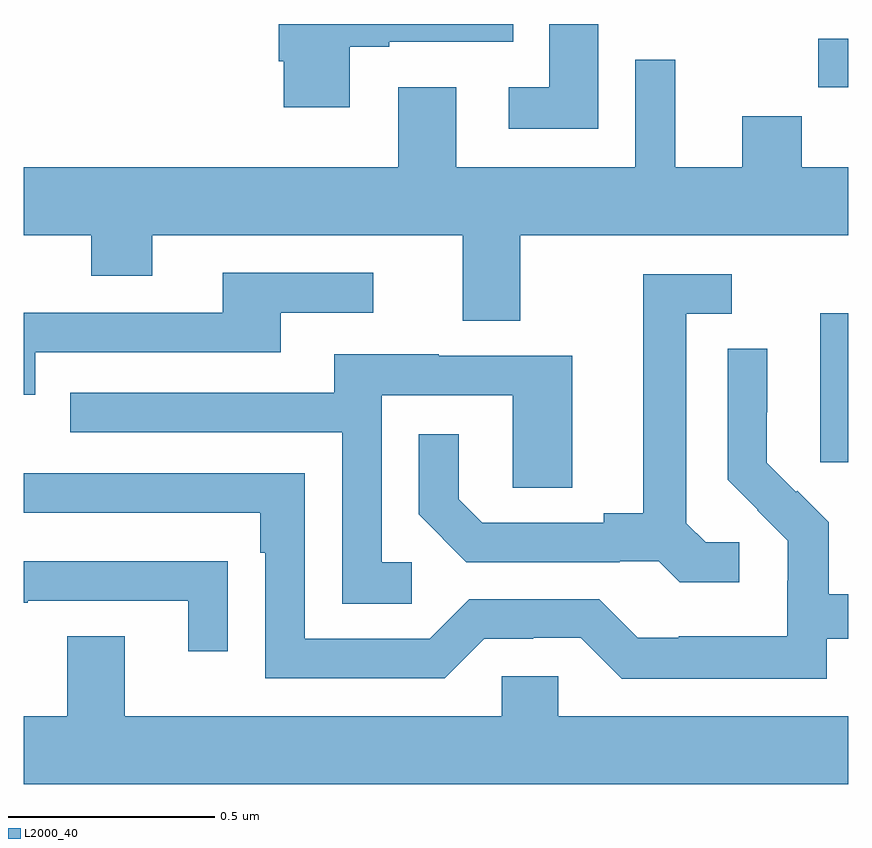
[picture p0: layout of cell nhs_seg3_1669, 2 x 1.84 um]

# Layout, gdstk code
import gdstk
lib = gdstk.Library(unit=1e-6, precision=1e-09)
def R(c, l, rs):  # rectangles x0, y0, x1, y1
    for r in rs: c.add(gdstk.rectangle(r[:2], r[2:], *l))
def P(c, l, *ps):  # polygons
    for p in ps: c.add(gdstk.Polygon(p, *l))
L2000_40 = (2000, 40)

nhs_seg3_1669 = lib.new_cell('nhs_seg3_1669')
R(nhs_seg3_1669, L2000_40, [(132.932,728.337,133,728.698), (132.928,729.246,133,729.364)])
P(nhs_seg3_1669, L2000_40, [(132.394,729.4),(132.275,729.4),(132.275,729.247),(132.177,729.247),(132.177,729.146),(132.394,729.146)],
  [(131.791,729.345),(131.887,729.345),(131.887,729.357),(132.187,729.357),(132.187,729.4),(131.618,729.4),(131.618,729.31),(131.63,729.31),(131.63,729.198),(131.791,729.198)],
  [(132.205,728.888),(133,728.888),(133,729.052),(132.887,729.052),(132.887,729.176),(132.743,729.176),(132.743,729.052),(132.58,729.052),(132.58,729.313),(132.483,729.313),(132.483,729.052),(132.049,729.052),(132.049,729.247),(131.909,729.247),(131.909,729.052),(131,729.052),(131,728.888),(131.164,728.888),(131.164,728.789),(131.311,728.789),(131.311,728.888),(132.065,728.888),(132.065,728.68),(132.205,728.68)],
  [(131.028,728.604),(131.623,728.604),(131.623,728.7),(131.848,728.7),(131.848,728.796),(131.483,728.796),(131.483,728.7),(131,728.7),(131,728.501),(131.028,728.501)],
  [(132.736,728.142),(132.654,728.142),(132.607,728.189),(132.607,728.697),(132.718,728.697),(132.718,728.793),(132.503,728.793),(132.503,728.213),(132.407,728.213),(132.407,728.19),(132.112,728.19),(132.055,728.247),(132.055,728.404),(131.958,728.404),(131.958,728.21),(132.074,728.094),(132.446,728.094),(132.446,728.097),(132.54,728.097),(132.592,728.045),(132.736,728.045)],
  [(132.948,727.908),(133,727.908),(133,728.017),(132.953,728.017),(132.953,728.191),(132.876,728.268),(132.873,728.265),(132.803,728.336),(132.803,728.458),(132.804,728.458),(132.804,728.612),(132.708,728.612),(132.708,728.294),(132.781,728.221),(132.78,728.22),(132.854,728.146),(132.854,728.049),(132.852,728.049),(132.852,727.915),(132.589,727.915),(132.589,727.911),(132.489,727.911),(132.396,728.004),(132.081,728.004),(131.985,727.908),(131.682,727.908),(131.682,728.31),(131,728.31),(131,728.214),(131.573,728.214),(131.573,728.117),(131.586,728.117),(131.586,727.812),(132.021,727.812),(132.117,727.908),(132.236,727.908),(132.236,727.911),(132.351,727.911),(132.451,727.811),(132.948,727.811)],
  [(131.941,728.094),(131.868,728.094),(131.868,728.499),(132.186,728.499),(132.186,728.275),(132.331,728.275),(132.331,728.595),(132.007,728.595),(132.007,728.599),(131.753,728.599),(131.753,728.505),(131.113,728.505),(131.113,728.409),(131.772,728.409),(131.772,727.993),(131.941,727.993)],
  [(131.495,728.096),(131.393,728.096),(131.393,728.097),(131,728.097),(131,727.996),(131.009,727.996),(131.009,728.001),(131.399,728.001),(131.399,727.878),(131.495,727.878)],
  [(133,727.72),(132.297,727.72),(132.297,727.818),(132.159,727.818),(132.159,727.72),(131.245,727.72),(131.245,727.915),(131.105,727.915),(131.105,727.72),(131,727.72),(131,727.556),(133,727.556)])

lib.write_gds('nhs_seg3_1669.gds')
